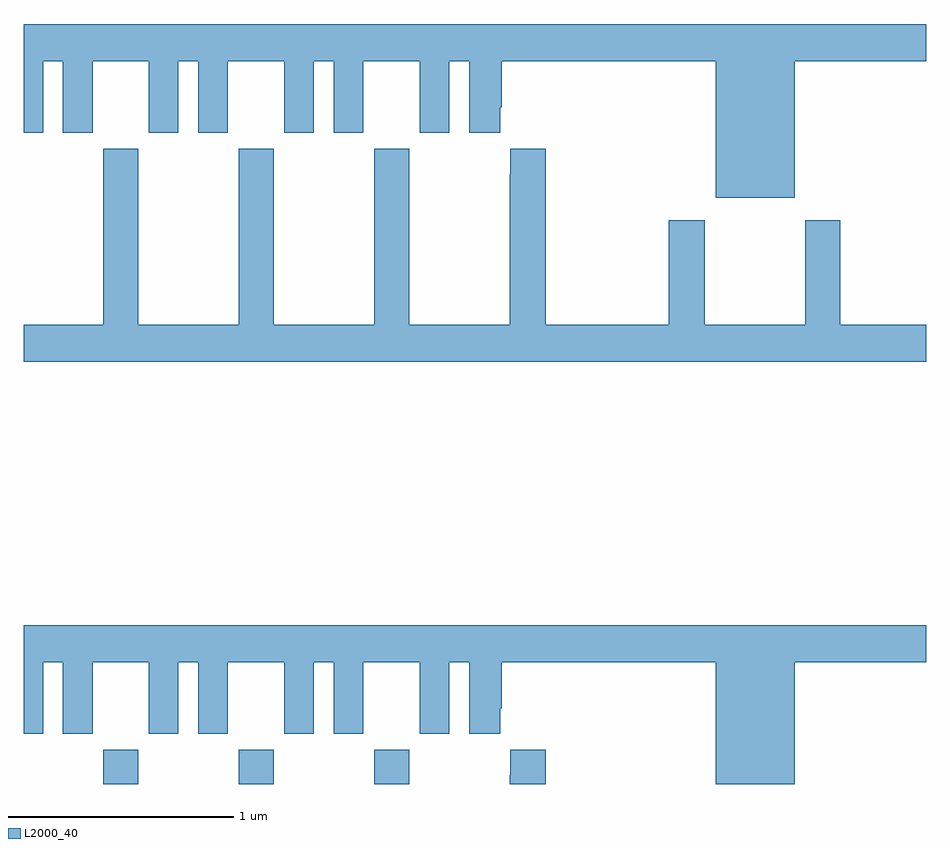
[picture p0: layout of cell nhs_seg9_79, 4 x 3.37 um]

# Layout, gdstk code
import gdstk
lib = gdstk.Library(unit=1e-6, precision=1e-09)
def R(c, l, rs):  # rectangles x0, y0, x1, y1
    for r in rs: c.add(gdstk.rectangle(r[:2], r[2:], *l))
def A(c, l, x, y, w, h, nx, ny, dx, dy):  # array of equal rectangles
    R(c, l, [(x+i*dx, y+j*dy, x+i*dx+w, y+j*dy+h) for i in range(nx) for j in range(ny)])
def P(c, l, *ps):  # polygons
    for p in ps: c.add(gdstk.Polygon(p, *l))
L2000_40 = (2000, 40)

nhs_seg9_79 = lib.new_cell('nhs_seg9_79')
A(nhs_seg9_79, L2000_40, 113.353, 1242.5, 0.155, 0.152, 3, 1, 0.6, 0)
P(nhs_seg9_79, L2000_40, [(116.416,1245.704),(117,1245.704),(117,1245.868),(113,1245.868),(113,1245.387),(113.086,1245.387),(113.086,1245.704),(113.174,1245.704),(113.174,1245.387),(113.305,1245.387),(113.305,1245.704),(113.555,1245.704),(113.555,1245.387),(113.686,1245.387),(113.686,1245.704),(113.774,1245.704),(113.774,1245.387),(113.905,1245.387),(113.905,1245.704),(114.155,1245.704),(114.155,1245.387),(114.286,1245.387),(114.286,1245.704),(114.374,1245.704),(114.374,1245.387),(114.505,1245.387),(114.505,1245.704),(114.755,1245.704),(114.755,1245.387),(114.886,1245.387),(114.886,1245.704),(114.974,1245.704),(114.974,1245.387),(115.111,1245.387),(115.111,1245.499),(115.118,1245.499),(115.118,1245.704),(116.066,1245.704),(116.066,1245.098),(116.416,1245.098)],
  [(117,1244.536),(116.619,1244.536),(116.619,1244.998),(116.464,1244.998),(116.464,1244.536),(116.019,1244.536),(116.019,1244.998),(115.859,1244.998),(115.859,1244.536),(115.313,1244.536),(115.313,1245.316),(115.157,1245.316),(115.157,1245.203),(115.153,1245.203),(115.153,1244.536),(114.708,1244.536),(114.708,1245.316),(114.553,1245.316),(114.553,1244.536),(114.108,1244.536),(114.108,1245.316),(113.953,1245.316),(113.953,1244.536),(113.508,1244.536),(113.508,1245.316),(113.353,1245.316),(113.353,1244.536),(113,1244.536),(113,1244.372),(117,1244.372)],
  [(116.416,1243.04),(117,1243.04),(117,1243.204),(113,1243.204),(113,1242.723),(113.086,1242.723),(113.086,1243.04),(113.174,1243.04),(113.174,1242.723),(113.305,1242.723),(113.305,1243.04),(113.555,1243.04),(113.555,1242.723),(113.686,1242.723),(113.686,1243.04),(113.774,1243.04),(113.774,1242.723),(113.905,1242.723),(113.905,1243.04),(114.155,1243.04),(114.155,1242.723),(114.286,1242.723),(114.286,1243.04),(114.374,1243.04),(114.374,1242.723),(114.505,1242.723),(114.505,1243.04),(114.755,1243.04),(114.755,1242.723),(114.886,1242.723),(114.886,1243.04),(114.974,1243.04),(114.974,1242.723),(115.111,1242.723),(115.111,1242.835),(115.118,1242.835),(115.118,1243.04),(116.066,1243.04),(116.066,1242.5),(116.416,1242.5)],
  [(115.313,1242.652),(115.157,1242.652),(115.157,1242.539),(115.153,1242.539),(115.153,1242.5),(115.313,1242.5)])

lib.write_gds('nhs_seg9_79.gds')
